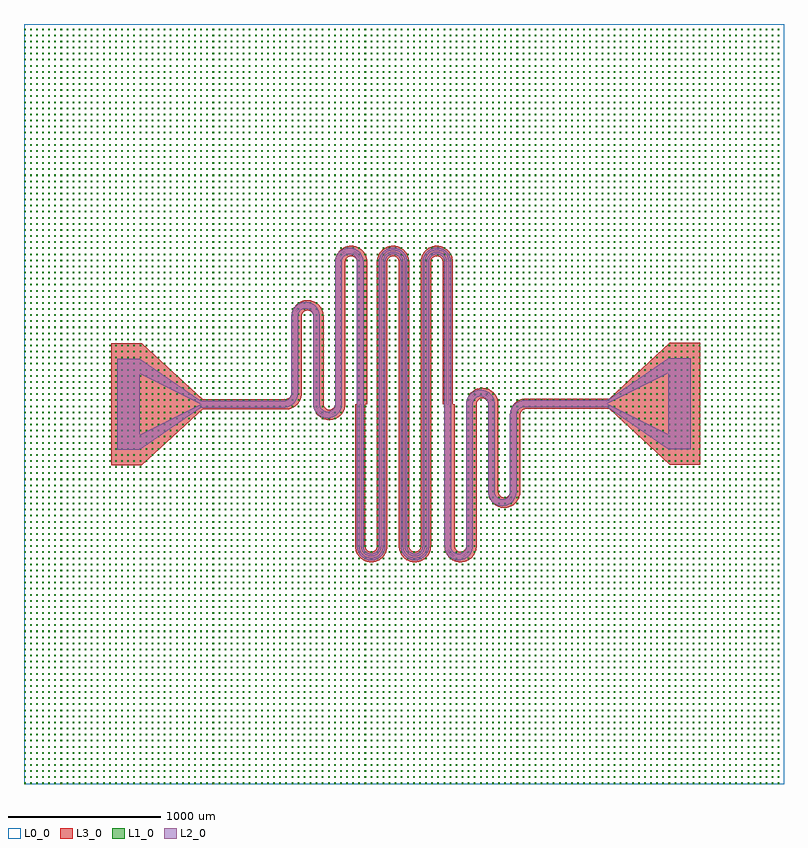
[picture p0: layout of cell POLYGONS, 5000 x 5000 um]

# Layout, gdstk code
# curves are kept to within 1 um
import gdstk
lib = gdstk.Library(unit=1e-6, precision=1e-09)
def R(c, l, rs):  # rectangles x0, y0, x1, y1
    for r in rs: c.add(gdstk.rectangle(r[:2], r[2:], *l))
def A(c, l, x, y, w, h, nx, ny, dx, dy):  # array of equal rectangles
    R(c, l, [(x+i*dx, y+j*dy, x+i*dx+w, y+j*dy+h) for i in range(nx) for j in range(ny)])
def P(c, l, *ps):  # polygons
    for p in ps: c.add(gdstk.Polygon(p, *l))
L0_0 = (0, 0)
L1_0 = (1, 0)
L2_0 = (2, 0)
L3_0 = (3, 0)

polygons = lib.new_cell('POLYGONS')
R(polygons, L0_0, [(-1670,970,3330,5970)])
A(polygons, L1_0, -1670, 970, 10, 10, 125, 125, 40, 40)
R(polygons, L2_0, [(520.42,2534.984,538.27,3470), (546.38,2534.984,564.23,3470), (664.23,2534.984,682.08,4405.016), (690.19,2534.984,708.04,4405.016), (808.04,2534.984,825.89,4405.016), (834,2534.984,851.85,4405.016), (951.85,2534.984,969.7,4405.016), (977.81,2534.984,995.66,4405.016), (1095.66,2534.984,1116.565,3470), (1118.565,2534.984,1139.47,3470), (1239.47,2534.984,1260.375,3470), (1262.375,2534.984,1283.28,3470), (1383.28,2892.27,1404.185,3470), (1406.185,2892.27,1427.09,3470), (1527.09,2892.27,1547.995,3400), (1549.995,2892.27,1570.9,3400), (-1057.058,3168.095,-907.058,3768.095), (2566.948,3171.905,2716.948,3771.905), (-507.058,3446.19,38.99,3467.095), (1620.9,3450,2166.948,3470.905), (-507.058,3469.095,38.99,3490), (232.8,3470,253.705,4047.73), (255.705,3470,276.61,4047.73), (376.61,3470,397.515,4405.016), (399.515,3470,420.42,4405.016), (520.42,3470,541.325,4405.016), (543.325,3470,564.23,4405.016), (1095.66,3470,1113.51,4405.016), (1121.62,3470,1139.47,4405.016), (1620.9,3472.905,2166.948,3493.81), (88.99,3540,109.895,4047.73), (111.895,3540,132.8,4047.73)])
P(polygons, L2_0, [(564.23,2534.984),(568.231,2515.385),(579.594,2498.923),(592.796,2489.811),(612.217,2485.024),(628.141,2486.958),(642.634,2493.834),(651.656,2501.827),(658.503,2511.747),(662.777,2523.018),(664.23,2534.984),(682.08,2534.984),(681.202,2524.1),(676.651,2508.389),(671.577,2498.72),(661.232,2486.05),(643.317,2473.684),(633.107,2469.812),(616.962,2467.189),(600.659,2468.505),(585.144,2473.684),(571.319,2482.427),(559.988,2494.223),(549.872,2513.498),(546.38,2534.984)],
  [(538.27,2534.984),(542.18,2510.929),(546.971,2499.683),(557.373,2484.613),(571.08,2472.47),(581.667,2466.357),(599.036,2460.559),(611.172,2459.085),(623.386,2459.577),(641.166,2463.96),(662.271,2476.145),(674.956,2489.351),(681.49,2499.683),(687.983,2516.805),(690.19,2534.984),(708.04,2534.984),(706.826,2519.935),(703.213,2505.277),(693.518,2484.845),(684.448,2472.776),(667.521,2457.779),(654.446,2450.231),(632.995,2443.069),(618.008,2441.25),(595.466,2443.069),(574.015,2450.231),(560.94,2457.779),(544.013,2472.776),(534.943,2484.845),(527.927,2498.213),(523.146,2512.533),(520.725,2527.435),(520.42,2534.984)],
  [(808.04,4405.016),(804.039,4424.615),(792.677,4441.077),(779.475,4450.189),(760.054,4454.976),(744.129,4453.042),(729.637,4446.166),(720.615,4438.173),(713.768,4428.253),(709.493,4416.982),(708.04,4405.016),(690.19,4405.016),(692.162,4421.254),(695.62,4431.611),(700.694,4441.28),(711.039,4453.95),(728.954,4466.316),(739.163,4470.188),(755.308,4472.811),(771.612,4471.495),(787.127,4466.316),(800.952,4457.573),(812.283,4445.777),(822.399,4426.502),(825.89,4405.016)],
  [(834,4405.016),(833.017,4417.201),(827.922,4434.79),(818.766,4450.649),(810.66,4459.799),(790.604,4473.643),(779.174,4477.977),(761.099,4480.915),(748.884,4480.423),(731.105,4476.04),(710,4463.855),(701.183,4455.387),(690.781,4440.317),(684.288,4423.195),(682.08,4405.016),(664.23,4405.016),(666.956,4427.467),(671.737,4441.787),(678.753,4455.155),(687.823,4467.224),(704.75,4482.221),(717.825,4489.769),(739.276,4496.931),(754.263,4498.75),(776.805,4496.931),(798.256,4489.769),(811.331,4482.221),(828.258,4467.224),(837.328,4455.155),(844.344,4441.787),(849.124,4427.467),(851.546,4412.565),(851.85,4405.016)],
  [(851.85,2534.984),(855.851,2515.385),(867.214,2498.923),(880.416,2489.811),(899.837,2485.024),(915.761,2486.958),(930.254,2493.834),(939.276,2501.827),(946.123,2511.747),(950.397,2523.018),(951.85,2534.984),(969.7,2534.984),(968.822,2524.1),(964.271,2508.389),(959.197,2498.72),(948.852,2486.05),(930.937,2473.684),(920.727,2469.812),(904.582,2467.189),(888.279,2468.505),(872.764,2473.684),(858.939,2482.427),(847.608,2494.223),(837.492,2513.498),(834,2534.984)],
  [(825.89,2534.984),(829.8,2510.929),(834.591,2499.683),(844.993,2484.613),(858.7,2472.47),(869.287,2466.357),(886.656,2460.559),(898.792,2459.085),(911.006,2459.577),(928.786,2463.96),(949.891,2476.145),(962.576,2489.351),(969.11,2499.683),(975.603,2516.805),(977.81,2534.984),(995.66,2534.984),(994.446,2519.935),(990.833,2505.277),(981.138,2484.845),(972.068,2472.776),(955.141,2457.779),(942.066,2450.231),(920.615,2443.069),(905.628,2441.25),(883.086,2443.069),(861.635,2450.231),(848.56,2457.779),(831.633,2472.776),(822.563,2484.845),(815.547,2498.213),(810.766,2512.533),(808.345,2527.435),(808.04,2534.984)],
  [(1095.66,4405.016),(1091.659,4424.615),(1080.297,4441.077),(1067.095,4450.189),(1047.674,4454.976),(1031.749,4453.042),(1017.257,4446.166),(1008.235,4438.173),(1001.388,4428.253),(997.113,4416.982),(995.66,4405.016),(977.81,4405.016),(979.782,4421.254),(983.24,4431.611),(988.314,4441.28),(998.659,4453.95),(1016.574,4466.316),(1026.783,4470.188),(1042.928,4472.811),(1059.232,4471.495),(1074.747,4466.316),(1088.572,4457.573),(1099.903,4445.777),(1110.019,4426.502),(1113.51,4405.016)],
  [(1121.62,4405.016),(1120.637,4417.201),(1115.542,4434.79),(1106.386,4450.649),(1098.28,4459.799),(1078.224,4473.643),(1066.794,4477.977),(1048.719,4480.915),(1036.504,4480.423),(1018.725,4476.04),(997.62,4463.855),(988.803,4455.387),(978.401,4440.317),(971.908,4423.195),(969.7,4405.016),(951.85,4405.016),(954.576,4427.467),(959.357,4441.787),(966.373,4455.155),(975.443,4467.224),(992.37,4482.221),(1005.445,4489.769),(1026.896,4496.931),(1041.883,4498.75),(1064.425,4496.931),(1085.876,4489.769),(1098.951,4482.221),(1115.878,4467.224),(1124.948,4455.155),(1131.964,4441.787),(1136.744,4427.467),(1139.166,4412.565),(1139.47,4405.016)],
  [(520.42,4405.016),(516.419,4424.615),(505.057,4441.077),(491.855,4450.189),(472.434,4454.976),(452.69,4451.767),(435.784,4441.077),(424.421,4424.615),(420.42,4405.016),(399.515,4405.016),(403.164,4427.47),(410.492,4442.913),(417.347,4452.035),(425.577,4459.94),(440.024,4469.076),(450.693,4473.122),(467.565,4475.864),(484.603,4474.488),(500.817,4469.076),(515.264,4459.94),(527.105,4447.612),(537.676,4427.47),(541.325,4405.016)],
  [(543.325,4405.016),(539.573,4428.103),(534.975,4438.897),(524.991,4453.361),(516.529,4461.489),(501.674,4470.882),(490.704,4475.043),(473.356,4477.862),(461.633,4477.39),(444.568,4473.184),(424.312,4461.489),(412.137,4448.814),(403.349,4433.593),(398.459,4416.711),(397.515,4405.016),(376.61,4405.016),(379.336,4427.467),(384.117,4441.787),(391.133,4455.155),(400.203,4467.224),(417.13,4482.221),(430.205,4489.769),(451.656,4496.931),(466.643,4498.75),(489.185,4496.931),(510.636,4489.769),(523.711,4482.221),(540.638,4467.224),(549.708,4455.155),(556.724,4441.787),(561.504,4427.467),(563.926,4412.565),(564.23,4405.016)],
  [(276.61,3470),(280.611,3450.402),(291.974,3433.94),(305.176,3424.827),(324.597,3420.041),(344.341,3423.249),(361.247,3433.94),(372.609,3450.402),(376.61,3470),(397.515,3470),(395.455,3453.031),(391.842,3442.208),(379.684,3422.981),(366.889,3411.646),(357.007,3405.941),(346.337,3401.894),(329.465,3399.153),(312.428,3400.528),(296.214,3405.941),(281.767,3415.077),(269.926,3427.404),(259.354,3447.547),(255.705,3470)],
  [(253.705,3470),(257.457,3446.913),(262.056,3436.119),(272.04,3421.655),(280.502,3413.527),(295.357,3404.134),(312.027,3398.568),(323.675,3397.154),(346.894,3399.973),(363.063,3406.862),(372.719,3413.527),(381.181,3421.655),(391.165,3436.119),(397.397,3452.553),(399.515,3470),(420.42,3470),(419.206,3454.952),(415.593,3440.293),(405.898,3419.862),(396.828,3407.792),(385.94,3397.334),(366.826,3385.247),(345.375,3378.086),(330.388,3376.266),(307.846,3378.086),(286.395,3385.247),(267.281,3397.334),(256.393,3407.792),(247.323,3419.862),(240.307,3433.23),(235.526,3447.55),(233.105,3462.451),(232.8,3470)],
  [(232.8,4047.73),(228.799,4067.329),(217.437,4083.79),(204.235,4092.903),(184.814,4097.69),(165.07,4094.481),(148.164,4083.79),(136.801,4067.329),(132.8,4047.73),(111.895,4047.73),(115.544,4070.184),(122.872,4085.626),(129.727,4094.749),(137.957,4102.654),(152.404,4111.789),(163.073,4115.836),(179.945,4118.578),(196.983,4117.202),(213.197,4111.789),(227.644,4102.654),(239.485,4090.326),(250.056,4070.184),(253.705,4047.73)],
  [(255.705,4047.73),(251.953,4070.817),(247.355,4081.611),(237.371,4096.075),(228.909,4104.203),(214.054,4113.596),(203.084,4117.757),(185.736,4120.576),(174.013,4120.104),(156.948,4115.898),(136.692,4104.203),(124.517,4091.527),(115.729,4076.307),(110.839,4059.425),(109.895,4047.73),(88.99,4047.73),(91.716,4070.18),(96.497,4084.501),(103.513,4097.868),(112.583,4109.938),(123.471,4120.396),(142.585,4132.483),(164.036,4139.644),(179.023,4141.464),(201.565,4139.644),(223.016,4132.483),(242.13,4120.396),(253.018,4109.938),(262.088,4097.868),(269.104,4084.501),(273.884,4070.18),(276.306,4055.279),(276.61,4047.73)],
  [(38.99,3490),(56.721,3493.249),(65.714,3497.74),(73.627,3503.94),(80.14,3511.597),(84.989,3520.402),(87.98,3529.999),(88.99,3540),(109.895,3540),(107.835,3523.031),(101.774,3507.049),(92.064,3492.981),(79.269,3481.646),(58.717,3471.894),(38.99,3469.095)],
  [(38.99,3467.095),(62.077,3470.847),(82.787,3481.717),(93.561,3491.655),(103.545,3506.119),(109.777,3522.553),(111.895,3540),(132.8,3540),(130.074,3517.55),(122.055,3496.404),(109.208,3477.792),(95.346,3465.004),(82.586,3456.935),(68.697,3451.018),(54.039,3447.405),(38.99,3446.19)],
  [(-507.058,3490),(-507.058,3469.095),(-907.058,3668.095),(-907.058,3768.095)],
  [(-507.058,3467.095),(-507.058,3446.19),(-907.058,3168.095),(-907.058,3268.095)],
  [(1139.47,2534.984),(1143.471,2515.385),(1154.834,2498.923),(1168.036,2489.811),(1187.457,2485.024),(1207.201,2488.233),(1224.107,2498.923),(1235.469,2515.385),(1239.47,2534.984),(1260.375,2534.984),(1258.315,2518.015),(1254.702,2507.191),(1242.544,2487.965),(1234.314,2480.06),(1219.867,2470.924),(1209.197,2466.878),(1192.325,2464.136),(1175.288,2465.512),(1159.074,2470.924),(1144.627,2480.06),(1132.786,2492.388),(1122.214,2512.53),(1118.565,2534.984)],
  [(1116.565,2534.984),(1117.509,2523.289),(1122.399,2506.407),(1131.187,2491.186),(1138.967,2482.404),(1153.018,2471.846),(1163.618,2466.816),(1186.535,2462.138),(1198.258,2462.61),(1215.323,2466.816),(1235.579,2478.511),(1247.754,2491.186),(1254.025,2501.103),(1260.257,2517.536),(1262.375,2534.984),(1283.28,2534.984),(1282.066,2519.935),(1278.453,2505.277),(1268.758,2484.845),(1259.688,2472.776),(1242.761,2457.779),(1229.686,2450.231),(1208.235,2443.069),(1193.248,2441.25),(1170.706,2443.069),(1149.255,2450.231),(1136.18,2457.779),(1119.253,2472.776),(1110.183,2484.845),(1103.167,2498.213),(1098.386,2512.533),(1095.965,2527.435),(1095.66,2534.984)],
  [(1383.28,3470),(1379.279,3489.598),(1367.917,3506.06),(1354.715,3515.173),(1335.294,3519.959),(1315.55,3516.751),(1298.644,3506.06),(1287.281,3489.598),(1283.28,3470),(1262.375,3470),(1266.024,3492.453),(1270.497,3502.951),(1280.207,3517.019),(1293.002,3528.354),(1302.884,3534.059),(1313.553,3538.106),(1330.425,3540.847),(1347.463,3539.472),(1363.677,3534.059),(1378.124,3524.923),(1389.965,3512.596),(1400.536,3492.453),(1404.185,3470)],
  [(1406.185,3470),(1402.433,3493.087),(1397.835,3503.881),(1387.851,3518.345),(1379.389,3526.473),(1364.534,3535.866),(1353.564,3540.027),(1336.216,3542.846),(1312.997,3540.027),(1296.828,3533.138),(1287.172,3526.473),(1278.71,3518.345),(1268.726,3503.881),(1262.494,3487.447),(1260.375,3470),(1239.47,3470),(1240.685,3485.048),(1244.298,3499.707),(1253.993,3520.138),(1263.063,3532.208),(1273.951,3542.666),(1293.065,3554.753),(1314.516,3561.914),(1329.503,3563.734),(1352.045,3561.914),(1373.496,3554.753),(1392.61,3542.666),(1403.498,3532.208),(1412.568,3520.138),(1419.584,3506.77),(1424.364,3492.45),(1426.786,3477.549),(1427.09,3470)],
  [(1427.09,2892.27),(1431.091,2872.671),(1442.454,2856.21),(1455.656,2847.097),(1475.077,2842.31),(1494.821,2845.519),(1511.727,2856.21),(1523.089,2872.671),(1527.09,2892.27),(1547.995,2892.27),(1545.935,2875.301),(1542.322,2864.477),(1530.164,2845.251),(1521.934,2837.346),(1507.487,2828.211),(1496.817,2824.164),(1479.945,2821.422),(1462.908,2822.798),(1446.694,2828.211),(1432.247,2837.346),(1420.406,2849.674),(1409.834,2869.816),(1406.185,2892.27)],
  [(1404.185,2892.27),(1405.129,2880.575),(1410.019,2863.693),(1422.52,2843.925),(1430.982,2835.797),(1445.837,2826.404),(1462.507,2820.838),(1474.155,2819.424),(1485.878,2819.896),(1502.943,2824.102),(1523.199,2835.797),(1531.661,2843.925),(1541.645,2858.389),(1547.877,2874.822),(1549.995,2892.27),(1570.9,2892.27),(1569.686,2877.222),(1566.073,2862.563),(1556.378,2842.132),(1547.308,2830.062),(1536.42,2819.604),(1517.306,2807.517),(1495.855,2800.356),(1480.868,2798.536),(1458.326,2800.356),(1436.875,2807.517),(1417.761,2819.604),(1406.873,2830.062),(1397.803,2842.132),(1390.787,2855.499),(1386.006,2869.82),(1383.585,2884.721),(1383.28,2892.27)],
  [(1620.9,3450),(1603.17,3446.751),(1594.177,3442.26),(1586.264,3436.06),(1579.751,3428.403),(1574.901,3419.598),(1571.911,3410.001),(1570.9,3400),(1549.995,3400),(1552.056,3416.969),(1558.117,3432.951),(1567.827,3447.019),(1580.622,3458.354),(1601.173,3468.106),(1620.9,3470.905)],
  [(1620.9,3472.905),(1597.814,3469.153),(1577.103,3458.283),(1564.428,3446.108),(1555.034,3431.254),(1550.114,3417.447),(1547.995,3400),(1527.09,3400),(1529.816,3422.45),(1537.836,3443.596),(1550.683,3462.208),(1564.545,3474.996),(1577.305,3483.065),(1591.194,3488.982),(1605.852,3492.595),(1620.9,3493.81)],
  [(2166.948,3493.81),(2166.948,3472.905),(2566.948,3671.905),(2566.948,3771.905)],
  [(2166.948,3470.905),(2166.948,3450),(2566.948,3171.905),(2566.948,3271.905)])
A(polygons, L3_0, 652.065, 2534.984, 68.14, 1870.032, 3, 1, 143.81, 0)
R(polygons, L3_0, [(508.255,2534.984,576.395,3470), (1095.66,2534.984,1163.8,3470), (1239.47,2534.984,1307.61,3470), (1383.28,2892.27,1451.42,3470), (1527.09,2892.27,1595.23,3400), (-1094.893,3068.095,-894.893,3868.095), (2579.113,3071.905,2779.113,3871.905), (-494.893,3434.025,51.155,3502.165), (1633.065,3437.835,2179.113,3505.975), (232.8,3470,300.94,4047.73), (376.61,3470,444.75,4405.016), (520.42,3470,588.56,4405.016), (1083.495,3470,1151.635,4405.016), (88.99,3540,157.13,4047.73)])
P(polygons, L3_0, [(576.395,2534.984),(578.342,2523.002),(585.91,2509.894),(598.011,2500.802),(612.707,2497.179),(627.647,2499.607),(640.44,2507.697),(649.038,2520.154),(652.065,2534.984),(720.205,2534.984),(718.833,2517.984),(714.752,2501.425),(708.067,2485.735),(693.554,2464.709),(681.254,2452.895),(659.661,2439.24),(635.428,2431.15),(618.498,2429.095),(601.456,2429.781),(584.746,2433.193),(568.8,2439.24),(554.03,2447.768),(540.819,2458.554),(529.509,2471.32),(516.736,2493.445),(511.335,2509.622),(508.255,2534.984)],
  [(795.875,4405.016),(792.848,4419.846),(784.25,4432.303),(771.457,4440.393),(759.564,4442.821),(744.624,4440.393),(731.831,4432.303),(723.233,4419.846),(720.205,4405.016),(652.065,4405.016),(653.438,4422.016),(657.519,4438.575),(668.471,4461.656),(678.717,4475.291),(691.017,4487.105),(712.61,4500.76),(736.843,4508.85),(753.773,4510.905),(770.814,4510.219),(787.524,4506.807),(803.471,4500.76),(818.241,4492.232),(837.364,4475.291),(847.609,4461.656),(855.535,4446.555),(860.936,4430.378),(864.015,4405.016)],
  [(864.015,2534.984),(865.962,2523.002),(873.53,2509.894),(885.631,2500.802),(900.327,2497.179),(915.267,2499.607),(928.06,2507.697),(936.658,2520.154),(939.685,2534.984),(1007.825,2534.984),(1006.453,2517.984),(1002.372,2501.425),(995.687,2485.735),(981.174,2464.709),(968.874,2452.895),(947.281,2439.24),(923.048,2431.15),(906.118,2429.095),(889.076,2429.781),(872.366,2433.193),(856.42,2439.24),(841.65,2447.768),(828.439,2458.554),(817.129,2471.32),(804.356,2493.445),(798.955,2509.622),(795.875,2534.984)],
  [(1083.495,4405.016),(1080.468,4419.846),(1071.87,4432.303),(1059.077,4440.393),(1047.184,4442.821),(1032.244,4440.393),(1019.451,4432.303),(1010.853,4419.846),(1007.825,4405.016),(939.685,4405.016),(941.058,4422.016),(945.139,4438.575),(956.091,4461.656),(966.337,4475.291),(978.637,4487.105),(1000.23,4500.76),(1024.463,4508.85),(1041.393,4510.905),(1058.434,4510.219),(1075.144,4506.807),(1091.091,4500.76),(1105.861,4492.232),(1124.984,4475.291),(1135.229,4461.656),(1143.155,4446.555),(1148.556,4430.378),(1151.635,4405.016)],
  [(520.42,4405.016),(517.393,4419.846),(508.795,4432.303),(496.002,4440.393),(484.109,4442.821),(469.169,4440.393),(456.376,4432.303),(447.778,4419.846),(444.75,4405.016),(376.61,4405.016),(377.983,4422.016),(382.064,4438.575),(393.016,4461.656),(403.262,4475.291),(415.562,4487.105),(437.155,4500.76),(461.388,4508.85),(478.318,4510.905),(495.359,4510.219),(512.069,4506.807),(528.016,4500.76),(542.786,4492.232),(561.909,4475.291),(572.154,4461.656),(580.08,4446.555),(585.481,4430.378),(588.56,4405.016)],
  [(300.94,3470),(303.968,3455.17),(312.566,3442.713),(322.556,3435.818),(337.252,3432.196),(352.192,3434.624),(364.985,3442.713),(373.583,3455.17),(376.61,3470),(444.75,3470),(443.378,3453),(439.297,3436.441),(432.612,3420.751),(418.099,3399.726),(405.799,3387.911),(384.206,3374.257),(368.259,3368.209),(343.043,3364.111),(326.001,3364.798),(309.291,3368.209),(293.345,3374.257),(278.575,3382.784),(265.364,3393.571),(254.054,3406.336),(241.281,3428.461),(235.88,3444.639),(232.8,3470)],
  [(232.8,4047.73),(229.773,4062.56),(221.175,4075.017),(208.382,4083.107),(196.489,4085.535),(181.549,4083.107),(168.756,4075.017),(160.158,4062.56),(157.13,4047.73),(88.99,4047.73),(90.363,4064.73),(94.444,4081.289),(105.396,4104.37),(115.642,4118.005),(134.765,4134.946),(149.535,4143.473),(173.768,4151.564),(190.698,4153.619),(207.739,4152.933),(224.449,4149.521),(240.396,4143.473),(255.166,4134.946),(274.289,4118.005),(284.534,4104.37),(292.46,4089.269),(297.861,4073.092),(300.94,4047.73)],
  [(51.155,3502.165),(64.572,3504.624),(77.365,3512.713),(85.963,3525.17),(88.99,3540),(157.13,3540),(155.758,3523),(151.677,3506.441),(146.899,3494.569),(138.371,3479.799),(130.479,3469.726),(118.179,3457.911),(104.143,3448.223),(88.735,3440.912),(68.155,3435.397),(51.155,3434.025)],
  [(-494.893,3502.165),(-494.893,3434.025),(-894.893,3068.095),(-894.893,3868.095)],
  [(1163.8,2534.984),(1165.747,2523.002),(1173.315,2509.894),(1185.416,2500.802),(1200.112,2497.179),(1215.052,2499.607),(1227.845,2507.697),(1236.443,2520.154),(1239.47,2534.984),(1307.61,2534.984),(1306.238,2517.984),(1302.157,2501.425),(1295.472,2485.735),(1280.959,2464.709),(1268.659,2452.895),(1247.066,2439.24),(1222.833,2431.15),(1205.903,2429.095),(1188.861,2429.781),(1172.151,2433.193),(1156.205,2439.24),(1141.435,2447.768),(1128.224,2458.554),(1116.914,2471.32),(1104.141,2493.445),(1098.74,2509.622),(1095.66,2534.984)],
  [(1383.28,3470),(1380.253,3484.83),(1371.655,3497.287),(1361.665,3504.182),(1346.969,3507.804),(1332.029,3505.376),(1319.236,3497.287),(1310.638,3484.83),(1307.61,3470),(1239.47,3470),(1240.843,3487),(1244.924,3503.559),(1255.876,3526.64),(1266.122,3540.274),(1278.422,3552.089),(1300.015,3565.743),(1315.961,3571.791),(1341.178,3575.889),(1358.219,3575.202),(1374.929,3571.791),(1390.876,3565.743),(1405.646,3557.216),(1418.857,3546.429),(1430.166,3533.664),(1442.94,3511.539),(1450.048,3487),(1451.42,3470)],
  [(1451.42,2892.27),(1454.448,2877.44),(1463.046,2864.983),(1475.839,2856.893),(1487.732,2854.465),(1502.672,2856.893),(1515.465,2864.983),(1524.063,2877.44),(1527.09,2892.27),(1595.23,2892.27),(1593.858,2875.27),(1589.777,2858.711),(1583.092,2843.021),(1568.579,2821.995),(1549.456,2805.054),(1534.686,2796.527),(1510.453,2788.436),(1493.523,2786.381),(1476.481,2787.067),(1459.771,2790.479),(1443.825,2796.527),(1429.055,2805.054),(1415.844,2815.84),(1404.534,2828.606),(1391.761,2850.731),(1386.36,2866.908),(1383.28,2892.27)],
  [(1633.065,3437.835),(1618.235,3434.807),(1606.856,3427.287),(1598.258,3414.83),(1595.23,3400),(1527.09,3400),(1527.863,3412.774),(1531.274,3429.484),(1537.322,3445.431),(1545.85,3460.201),(1553.742,3470.274),(1566.042,3482.089),(1580.078,3491.777),(1595.486,3499.088),(1616.066,3504.603),(1633.065,3505.975)],
  [(2179.113,3505.975),(2179.113,3437.835),(2579.113,3071.905),(2579.113,3871.905)])

lib.write_gds('POLYGONS.gds')
